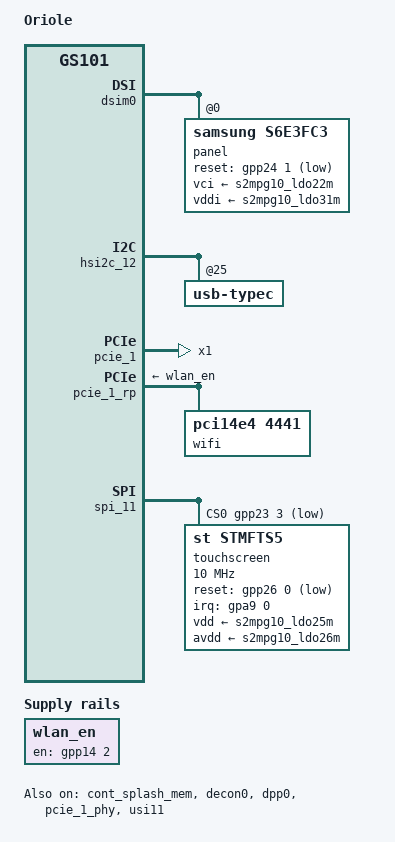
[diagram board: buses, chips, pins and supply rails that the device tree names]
// SPDX-License-Identifier: GPL-2.0-only
/*
 * Oriole Device Tree
 *
 * Copyright 2021-2023 Google LLC
 * Copyright 2023 Linaro Ltd - <peter.griffin@linaro.org>
 */

/dts-v1/;

#include <dt-bindings/clock/samsung,s2mps11.h>
#include <dt-bindings/regulator/samsung,s2mpg10-regulator.h>
#include "gs101-pixel-common.dtsi"

/ {
	model = "Oriole";
	compatible = "google,gs101-oriole", "google,gs101";

	chosen {
		/*
		 * A panic reboots, so an unattended phone comes back. bootconfig:
		 * the bootloader's androidboot properties, the slot among them.
		 * console=tty0: the bootloader leaves the UART of stdout-path
		 * unconfigured and passes console=null, which these arguments
		 * replace; as a console at its 9600 baud default, the UART held
		 * the boot for the replay of the log.
		 */
		bootargs = "rdinit=/init panic=10 loglevel=7 log_buf_len=2M bootconfig console=tty0";

		/*
		 * The bootloader rewrites the root compatible of the vendor_boot
		 * tree and takes the model from the dtbo entry of the board, the
		 * newest Oriole one on retail phones. It passes the vendor_boot
		 * ramdisks followed by the boot one, which carries the boot
		 * userspace.
		 */
		fdt-handoff {
			stock-compatible = "google,GS101 Oriole";
			stock-model = "Oriole DVT";
			keep-initrd;

			wifi-address {
				stock-path = "/chosen/config";
				stock-property = "wlan_mac1";
				target = <&wifi>;
				target-property = "local-mac-address";
			};
		};
	};

	/* 8 GiB; the bootloader passes what is usable. */
	memory@80000000 {
		device_type = "memory";
		reg = <0x0 0x80000000 0x80000000>,
		      <0x8 0x80000000 0x80000000>,
		      <0x9 0x00000000 0x80000000>,
		      <0x9 0x80000000 0x80000000>;
	};

	/* WL_REG_ON of the BCM4389 Wi-Fi and Bluetooth chip */
	wlan_en: regulator-wlan-en {
		compatible = "regulator-fixed";
		regulator-name = "wlan_en";
		gpio = <&gpp14 2 GPIO_ACTIVE_HIGH>;
		enable-active-high;
		startup-delay-us = <200000>;
		pinctrl-0 = <&wlan_en_pin>;
		pinctrl-names = "default";
	};
};

&acpm_ipc {
	pmic-1 {
		regulators {
			ldo14m {
				/* PLL */
				regulator-name = "avdd18_tcxo";
				regulator-min-microvolt = <1600000>;
				regulator-max-microvolt = <1950000>;
				regulator-always-on;
				samsung,ext-control = <S2MPG10_EXTCTRL_TCXO_ON>;
			};

			s2mpg10_ldo17m: ldo17m {
			};

			s2mpg10_ldo19m: ldo19m {
			};

			s2mpg10_ldo25m: ldo25m {
			};

			s2mpg10_ldo26m: ldo26m {
			};

			s2mpg10_ldo31m: ldo31m {
				/*
				 * Also the panel's VDDI (L31M_DISP_VDDI). The
				 * bootloader leaves the panel running from it,
				 * and nothing brings the panel back up once it
				 * goes off.
				 */
				regulator-name = "nfc";
				regulator-min-microvolt = <1600000>;
				regulator-max-microvolt = <1950000>;
				regulator-always-on;
			};
		};
	};
};

&cont_splash_mem {
	reg = <0x0 0xfac00000 (1080 * 2400 * 4)>;

	status = "okay";
};

&decon0 {
	status = "okay";
};

&dpp0 {
	status = "okay";
};

&dsim0 {
	status = "okay";

	panel@0 {
		compatible = "samsung,s6e3fc3";
		reg = <0>;
		reset-gpios = <&gpp24 1 GPIO_ACTIVE_LOW>;
		vci-supply = <&s2mpg10_ldo22m>;
		vddi-supply = <&s2mpg10_ldo31m>;
	};
};

&framebuffer0 {
	width = <1080>;
	height = <2400>;
	stride = <(1080 * 4)>;
	format = "a8r8g8b8";

	status = "okay";
};

&hsi2c_12 {
	usb-typec@25 {
		connector {
			/*
			 * The bootloader runs with its serial console off
			 * (androidboot.serialconsole = "0"): there is no
			 * console on the port for USB PD to disturb.
			 */
			/delete-property/ pd-disable;
			/delete-property/ typec-power-opmode;
		};
	};
};

&pcie_1 {
	/* The Wi-Fi chip, on one lane */
	num-lanes = <1>;
	max-link-speed = <2>;

	status = "okay";
};

&pcie_1_phy {
	vdd085-supply = <&s2mpg10_ldo17m>;
	vdd18-supply = <&s2mpg10_ldo19m>;

	status = "okay";
};

&pcie_1_rp {
	/* The Wi-Fi chip's 32 kHz sleep clock */
	clocks = <&s2mpg10_clk S2MPS11_CLK_BT>;
	vpcie3v3-supply = <&wlan_en>;

	wifi: wifi@0 {
		compatible = "pci14e4,4441";
		reg = <0x10000 0x0 0x0 0x0 0x0>;
		/* Filled in from the bootloader (fdt-handoff wifi-address) */
		local-mac-address = [00 00 00 00 00 00];
	};
};

&pinctrl_gpio_alive {
	ts_irq: ts-irq-pins {
		samsung,pins = "gpa9-0";
		samsung,pin-function = <GS101_PIN_FUNC_EINT>;
		samsung,pin-pud = <GS101_PIN_PULL_NONE>;
	};
};

&pinctrl_peric0 {
	wlan_en_pin: wlan-en-pins {
		samsung,pins = "gpp14-2";
		samsung,pin-function = <GS101_PIN_FUNC_OUTPUT>;
		samsung,pin-pud = <GS101_PIN_PULL_NONE>;
		samsung,pin-drv = <GS101_PIN_DRV_2_5_MA>;
		samsung,pin-con-pdn = <GS101_PIN_PDN_PREV>;
		samsung,pin-pud-pdn = <GS101_PIN_PULL_UP>;
	};
};

&pinctrl_peric1 {
	ts_reset: ts-reset-pins {
		samsung,pins = "gpp26-0";
		samsung,pin-function = <GS101_PIN_FUNC_OUTPUT>;
		samsung,pin-pud = <GS101_PIN_PULL_NONE>;
	};
};

&spi_11 {
	cs-gpios = <&gpp23 3 GPIO_ACTIVE_LOW>;

	status = "okay";

	touchscreen@0 {
		compatible = "st,stmfts5";
		reg = <0>;
		spi-max-frequency = <10000000>;
		interrupts-extended = <&gpa9 0 IRQ_TYPE_LEVEL_LOW>;
		pinctrl-0 = <&ts_irq>, <&ts_reset>;
		pinctrl-names = "default";
		reset-gpios = <&gpp26 0 GPIO_ACTIVE_LOW>;
		vdd-supply = <&s2mpg10_ldo25m>;
		avdd-supply = <&s2mpg10_ldo26m>;
		touchscreen-size-x = <1080>;
		touchscreen-size-y = <2400>;

		controller-data {
			samsung,spi-feedback-delay = <1>;
		};
	};
};

&usi11 {
	samsung,mode = <USI_MODE_SPI>;

	status = "okay";
};
